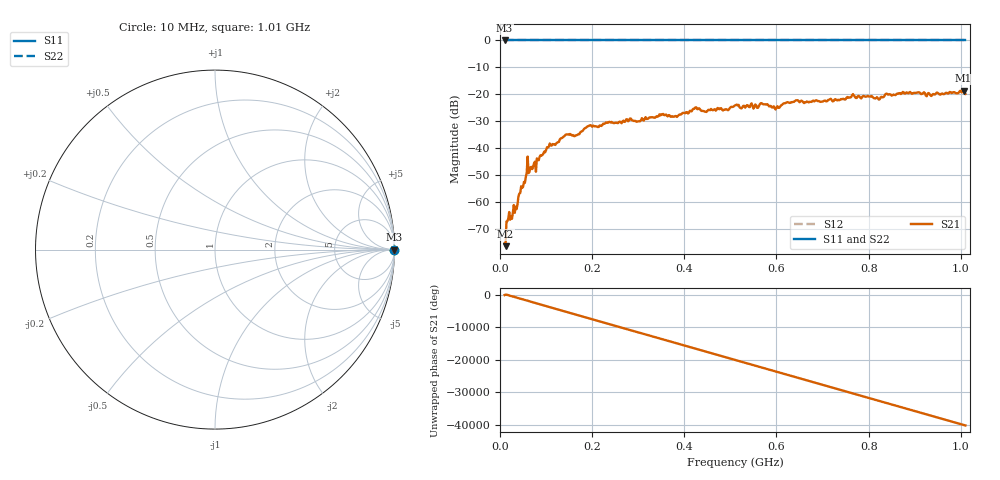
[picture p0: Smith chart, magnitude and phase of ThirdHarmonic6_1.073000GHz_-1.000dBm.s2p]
! 8/16/2025 9:45:56 AM
! C:\ANRITSUVNA\TEMP\TEMP.S2P
! CHANNEL.1
! TR.MEASUREMENT
! RAW.DATA
! RF.CORRECTION.OFF
! AVERAGING.OFF
! IF.BANDWIDTH: 5KHZ
! SWEEPTYPE:  FREQ.SWEEP(Linear)
! Reference Plane Port Info
! PORT:  PORT1  PORT2
! DISTANCE:  0  m  0  m
! TIME:  0  s  0  s
! PHASE.OFFSET:  0  deg.  0  deg.
! LOSS:  0  dB  0  dB
! REF.LOSS:  0  dB  0  dB
! REF.FREQ:  0  Hz  0  Hz
! Power Info
! POWER:  -20  dBm  -20  dBm
! EFF.POWER:  -20  dBm  -20  dBm
! SOURCE.ATTEN:  0  dB  0  dB
! TEST.ATTEN:  0  dB  0  dB
# GHZ S RI R 50.0
! FREQ.GHZ  S11RE  S11IM  S21RE  S21IM  S12RE  S12IM  S22RE  S22IM
!; PortSelection: Port_12
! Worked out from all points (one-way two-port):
!   501 points, 10 MHz to 1.01 GHz, reference 50 ohm
!   highest |S21| = -18.59 dB at 1.006 GHz (marker M1); lowest = -76.2 dB at 12 MHz (marker M2)
!   lowest |S11| = 0.0 dB at 10 MHz (marker M3)
!   |S11| at or under -10 dB: nowhere
!   |S22| runs from 0.0 to 0.0 dB; largest |S21 - S12| = 1.1
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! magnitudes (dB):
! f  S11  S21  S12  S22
! 10 MHz  0.0  -75.2  0.0  0.0
! 12 MHz  0.0  -76.2  0.0  0.0
! 18 MHz  0.0  -66.0  0.0  0.0
! 36 MHz  0.0  -62.4  0.0  0.0
! 62 MHz  0.0  -49.1  0.0  0.0
! 74 MHz  0.0  -45.4  0.0  0.0
! 106 MHz  0.0  -39.3  0.0  0.0
! 144 MHz  0.0  -34.9  0.0  0.0
! 178 MHz  0.0  -33.7  0.0  0.0
! 194 MHz  0.0  -31.5  0.0  0.0
! 344 MHz  0.0  -28.0  0.0  0.0
! 492 MHz  0.0  -25.5  0.0  0.0
! 510 MHz  0.0  -24.1  0.0  0.0
! 570 MHz  0.0  -23.5  0.0  0.0
! 600 MHz  0.0  -24.8  0.0  0.0
! 644 MHz  0.0  -22.2  0.0  0.0
! 678 MHz  0.0  -22.5  0.0  0.0
! 766 MHz  0.0  -19.9  0.0  0.0
! 820 MHz  0.0  -21.3  0.0  0.0
! 844 MHz  0.0  -20.0  0.0  0.0
! 1.006 GHz  0.0  -18.6  0.0  0.0
! 1.01 GHz  0.0  -19.8  0.0  0.0
